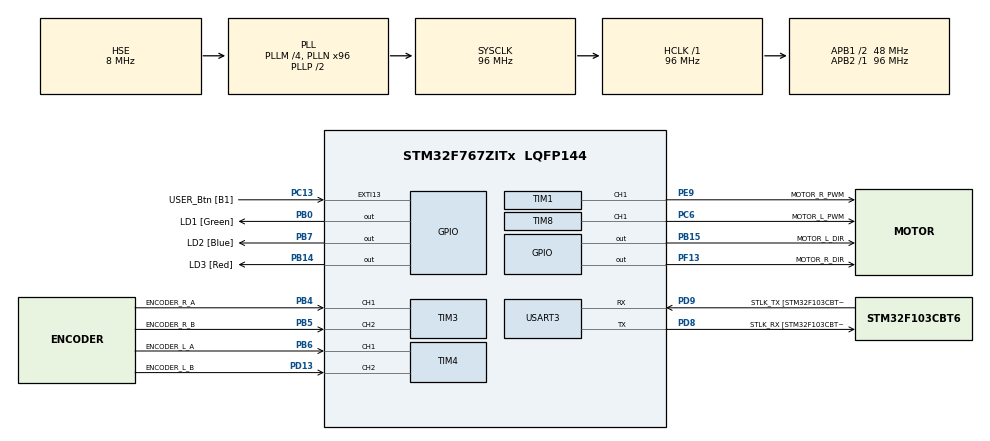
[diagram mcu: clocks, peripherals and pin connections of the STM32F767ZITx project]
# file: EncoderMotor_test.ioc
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CORTEX_M7.default_mode_Activation=1
Mcu.Family=STM32F7
Mcu.Name=STM32F767ZITx
Mcu.Package=LQFP144
NVIC.PriorityGroup=NVIC_PRIORITYGROUP_4
NVIC.TIM6_DAC_IRQn=true\:0\:0\:false\:false\:true\:true\:true\:true
NVIC.USART3_IRQn=true\:0\:0\:false\:false\:true\:true\:true\:true
PA13.GPIO_Label=TMS
PA13.Mode=Serial_Wire
PA13.Signal=SYS_JTMS-SWDIO
PA14.GPIO_Label=TCK
PA14.Mode=Serial_Wire
PA14.Signal=SYS_JTCK-SWCLK
PB0.GPIO_Label=LD1 [Green]
PB0.Signal=GPIO_Output
PB14.GPIO_Label=LD3 [Red]
PB14.Signal=GPIO_Output
PB15.GPIO_Label=MOTOR_L_DIR
PB15.Signal=GPIO_Output
PB3.GPIO_Label=SWO
PB3.Signal=SYS_JTDO-SWO
PB4.GPIO_Label=ENCODER_R_A
PB4.GPIO_Speed=GPIO_SPEED_FREQ_VERY_HIGH
PB4.Signal=S_TIM3_CH1
PB5.GPIO_Label=ENCODER_R_B
PB5.GPIO_Speed=GPIO_SPEED_FREQ_VERY_HIGH
PB5.Signal=S_TIM3_CH2
PB6.GPIO_Label=ENCODER_L_A
PB6.GPIO_Speed=GPIO_SPEED_FREQ_VERY_HIGH
PB6.Signal=S_TIM4_CH1
PB7.GPIO_Label=LD2 [Blue]
PB7.Signal=GPIO_Output
PC13.GPIO_Label=USER_Btn [B1]
PC13.Signal=GPXTI13
PC14/OSC32_IN.Mode=LSE-External-Oscillator
PC14/OSC32_IN.Signal=RCC_OSC32_IN
PC15/OSC32_OUT.Mode=LSE-External-Oscillator
PC15/OSC32_OUT.Signal=RCC_OSC32_OUT
PC6.GPIO_Label=MOTOR_L_PWM
PC6.Signal=S_TIM8_CH1
PD13.GPIO_Label=ENCODER_L_B
PD13.GPIO_Speed=GPIO_SPEED_FREQ_VERY_HIGH
PD13.Signal=S_TIM4_CH2
PD8.GPIO_Label=STLK_RX [STM32F103CBT6_PA3]
PD8.Mode=Asynchronous
PD8.Signal=USART3_TX
PD9.GPIO_Label=STLK_TX [STM32F103CBT6_PA2]
PD9.Mode=Asynchronous
PD9.Signal=USART3_RX
PE9.GPIO_Label=MOTOR_R_PWM
PE9.Signal=S_TIM1_CH1
PF13.GPIO_Label=MOTOR_R_DIR
PF13.Signal=GPIO_Output
PH0/OSC_IN.GPIO_Label=MCO [STM32F103CBT6_PA8]
PH0/OSC_IN.Mode=HSE-External-Clock-Source
PH0/OSC_IN.Signal=RCC_OSC_IN
PH1/OSC_OUT.Mode=HSE-External-Clock-Source
PH1/OSC_OUT.Signal=RCC_OSC_OUT
ProjectManager.HeapSize=0x200
ProjectManager.StackSize=0x400
ProjectManager.TargetToolchain=STM32CubeIDE
RCC.48MHZClocksFreq_Value=24000000
RCC.AHBFreq_Value=96000000
RCC.APB1CLKDivider=RCC_HCLK_DIV2
RCC.APB1Freq_Value=48000000
RCC.APB1TimFreq_Value=96000000
RCC.APB2Freq_Value=96000000
RCC.APB2TimFreq_Value=96000000
RCC.CortexFreq_Value=96000000
RCC.HCLKFreq_Value=96000000
RCC.HSE_VALUE=8000000
RCC.HSI_VALUE=16000000
RCC.PLLM=4
RCC.PLLMUL=RCC_PLL_MUL9
RCC.PLLN=96
RCC.PLLQ=4
RCC.PLLSourceVirtual=RCC_PLLSOURCE_HSE
RCC.PRESCALERUSB=RCC_USBCLKSOURCE_PLL_DIV1_5
RCC.SYSCLKFreq_VALUE=96000000
RCC.SYSCLKSource=RCC_SYSCLKSOURCE_PLLCLK
RCC.SYSCLKSourceVirtual=RCC_SYSCLKSOURCE_PLLCLK
RCC.USBFreq_Value=48000000
RCC.VCOOutputFreq_Value=192000000
SH.S_TIM1_CH1.0=TIM1_CH1,PWM Generation1 CH1
SH.S_TIM3_CH1.0=TIM3_CH1,Encoder_Interface
SH.S_TIM3_CH2.0=TIM3_CH2,Encoder_Interface
SH.S_TIM4_CH1.0=TIM4_CH1,Encoder_Interface
SH.S_TIM4_CH2.0=TIM4_CH2,Encoder_Interface
SH.S_TIM8_CH1.0=TIM8_CH1,PWM Generation1 CH1
TIM1.AutoReloadPreload=TIM_AUTORELOAD_PRELOAD_ENABLE
TIM1.Channel-PWM\ Generation1\ CH1=TIM_CHANNEL_1
TIM1.Period=4800 - 1
TIM1.Prescaler=1 - 1
TIM3.EncoderMode=TIM_ENCODERMODE_TI12
TIM3.IC1Filter=15
TIM3.IC2Filter=15
TIM4.EncoderMode=TIM_ENCODERMODE_TI12
TIM4.IC1Filter=15
TIM4.IC2Filter=15
TIM6.Period=100-1
TIM6.Prescaler=9600-1
TIM8.Channel-PWM\ Generation1\ CH1=TIM_CHANNEL_1
TIM8.Period=4800 - 1
TIM8.Prescaler=1 - 1
USART3.VirtualMode-Asynchronous=VM_ASYNC
VP_TIM6_VS_ClockSourceINT.Mode=Enable_Timer
board=NUCLEO-F767ZI

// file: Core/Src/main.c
/* USER CODE BEGIN Header */
/**
  ******************************************************************************
  * @file           : main.c
  * @brief          : Main program body
  ******************************************************************************
  * @attention
  *
  * Copyright (c) 2026 STMicroelectronics.
  * All rights reserved.
  *
  * This software is licensed under terms that can be found in the LICENSE file
  * in the root directory of this software component.
  * If no LICENSE file comes with this software, it is provided AS-IS.
  *
  ******************************************************************************
  */
/* USER CODE END Header */
#include "main.h"

/* USER CODE BEGIN Includes */
#include <stdio.h>
#include "pid.h"
//#include "agv_control.h"
/* USER CODE END Includes */

/* USER CODE BEGIN PD */
#define CMD_FORWARD       0x01
#define CMD_STOP          0x02
#define CMD_ROTATE_LEFT   0x05
#define CMD_ROTATE_RIGHT  0x06
#define CMD_ROTATE_180    0x07
#define ABS(x) (((x) > 0) ? (x) : (-x))
/* USER CODE END PD */

TIM_HandleTypeDef htim1;
TIM_HandleTypeDef htim3;
TIM_HandleTypeDef htim4;
TIM_HandleTypeDef htim6;
TIM_HandleTypeDef htim8;

UART_HandleTypeDef huart3;

/* USER CODE BEGIN PV */
volatile uint8_t control_flag = 0, print_flag = 0;
uint8_t command = 0x00;

uint16_t Base_PWM = 1200;
uint16_t EncoderL_PrevCount, EncoderR_PrevCount;
uint16_t EncoderL_CurrCount, EncoderR_CurrCount;
int16_t EncoderL_DiffCount, EncoderR_DiffCount;
int16_t MotorL_Speed, MotorR_Speed;

PID_t MOTOR_L;
PID_t MOTOR_R;
/* USER CODE END PV */

void SystemClock_Config(void);
static void MPU_Config(void);
static void MX_GPIO_Init(void);
static void MX_TIM1_Init(void);
static void MX_TIM3_Init(void);
static void MX_TIM4_Init(void);
static void MX_TIM8_Init(void);
static void MX_USART3_UART_Init(void);
static void MX_TIM6_Init(void);

/* USER CODE BEGIN 0 */
int _write(int file, char *ptr, int len)
{
    HAL_UART_Transmit(&huart3, (uint8_t*) ptr, len, HAL_MAX_DELAY);
    return len;
}

void MOTOR_Start(void)
{
	HAL_TIM_PWM_Start(&htim1, TIM_CHANNEL_1);			// MOTOR_R_PWM
	HAL_TIM_PWM_Start(&htim8, TIM_CHANNEL_1);			// MOTOR_L_PWM

	HAL_TIM_Encoder_Start(&htim3, TIM_CHANNEL_ALL);  	// MOTOR_R_ENCODER
	HAL_TIM_Encoder_Start(&htim4, TIM_CHANNEL_ALL);  	// MOTOR_L_ENCODER
}

void SPEED_PID_Control(uint16_t basePwm, float target)
{
	EncoderL_CurrCount = __HAL_TIM_GET_COUNTER(&htim4);
	EncoderR_CurrCount = __HAL_TIM_GET_COUNTER(&htim3);

	EncoderL_DiffCount = ABS((int16_t)(EncoderL_CurrCount - EncoderL_PrevCount));
	EncoderR_DiffCount = ABS((int16_t)(EncoderR_CurrCount - EncoderR_PrevCount));

	EncoderL_PrevCount = EncoderL_CurrCount;
	EncoderR_PrevCount = EncoderR_CurrCount;

	PID_SetTarget(&MOTOR_L, target);
	PID_SetTarget(&MOTOR_R, target);

	PID_Compute(&MOTOR_L, EncoderL_DiffCount);
	PID_Compute(&MOTOR_R, EncoderR_DiffCount);

	MotorL_Speed = basePwm + MOTOR_L.pidOutput;
	MotorR_Speed = basePwm + MOTOR_R.pidOutput;

	if (MotorL_Speed > 4320) MotorL_Speed = 4320;
	if (MotorL_Speed < 0) MotorL_Speed = 0;
	if (MotorR_Speed > 4320) MotorR_Speed = 4320;
	if (MotorR_Speed < 0) MotorR_Speed = 0;

	__HAL_TIM_SET_COMPARE(&htim8, TIM_CHANNEL_1, MotorL_Speed);
	__HAL_TIM_SET_COMPARE(&htim1, TIM_CHANNEL_1, MotorR_Speed);
}

void AGV_Forward(uint16_t basePwm, float target)
{
	HAL_GPIO_WritePin(MOTOR_L_DIR_GPIO_Port, MOTOR_L_DIR_Pin, GPIO_PIN_RESET);
	HAL_GPIO_WritePin(MOTOR_R_DIR_GPIO_Port, MOTOR_R_DIR_Pin, GPIO_PIN_RESET);

	if (control_flag)
	{
		control_flag = 0;
		print_flag++;
		SPEED_PID_Control(basePwm, target);
	}

	if (print_flag >= 10)
	{
		print_flag = 0;
		printf("EncoderL_CurrCount: %d, EncoderR_CurrCount: %d\r\n", EncoderL_CurrCount, EncoderR_CurrCount);
		printf("EncoderL_DiffCount: %d, EncoderR_DiffCount: %d\r\n", EncoderL_DiffCount, EncoderR_DiffCount);
		printf("MotorL_Speed: %d, MotorR_Speed: %d\r\n\n", MotorL_Speed, MotorR_Speed);
	}
}

void AGV_Stop(void)
{
	__HAL_TIM_SET_COMPARE(&htim8, TIM_CHANNEL_1, 0);
	__HAL_TIM_SET_COMPARE(&htim1, TIM_CHANNEL_1, 0);
}

void AGV_ROTATE_LEFT(uint16_t basePwm, float target)
{
	HAL_GPIO_WritePin(MOTOR_L_DIR_GPIO_Port, MOTOR_L_DIR_Pin, GPIO_PIN_SET);
	HAL_GPIO_WritePin(MOTOR_R_DIR_GPIO_Port, MOTOR_R_DIR_Pin, GPIO_PIN_RESET);

	if (control_flag)
	{
		control_flag = 0;
		print_flag++;
		SPEED_PID_Control(basePwm, target);
	}

	if (print_flag >= 10)
	{
		print_flag = 0;
		printf("EncoderL_CurrCount: %d, EncoderR_CurrCount: %d\r\n", EncoderL_CurrCount, EncoderR_CurrCount);
		printf("EncoderL_DiffCount: %d, EncoderR_DiffCount: %d\r\n", EncoderL_DiffCount, EncoderR_DiffCount);
		printf("MotorL_Speed: %d, MotorR_Speed: %d\r\n\n", MotorL_Speed, MotorR_Speed);
	}
}

void AGV_ROTATE_RIGHT(uint16_t basePwm, float target)
{
	HAL_GPIO_WritePin(MOTOR_L_DIR_GPIO_Port, MOTOR_L_DIR_Pin, GPIO_PIN_RESET);
	HAL_GPIO_WritePin(MOTOR_R_DIR_GPIO_Port, MOTOR_R_DIR_Pin, GPIO_PIN_SET);

	if (control_flag)
	{
		control_flag = 0;
		print_flag++;
		SPEED_PID_Control(basePwm, target);
	}

	if (print_flag >= 10)
	{
		print_flag = 0;
		printf("EncoderL_CurrCount: %d, EncoderR_CurrCount: %d\r\n", EncoderL_CurrCount, EncoderR_CurrCount);
		printf("EncoderL_DiffCount: %d, EncoderR_DiffCount: %d\r\n", EncoderL_DiffCount, EncoderR_DiffCount);
		printf("MotorL_Speed: %d, MotorR_Speed: %d\r\n\n", MotorL_Speed, MotorR_Speed);
	}
}

void AGV_ROTATE_180(uint16_t basePwm, float target)
{
	HAL_GPIO_WritePin(MOTOR_L_DIR_GPIO_Port, MOTOR_L_DIR_Pin, GPIO_PIN_RESET);
	HAL_GPIO_WritePin(MOTOR_R_DIR_GPIO_Port, MOTOR_R_DIR_Pin, GPIO_PIN_SET);

	if (control_flag)
	{
		control_flag = 0;
		print_flag++;
		SPEED_PID_Control(basePwm, target);
	}

	if (print_flag >= 10)
	{
		print_flag = 0;
		printf("EncoderL_CurrCount: %d, EncoderR_CurrCount: %d\r\n", EncoderL_CurrCount, EncoderR_CurrCount);
		printf("EncoderL_DiffCount: %d, EncoderR_DiffCount: %d\r\n", EncoderL_DiffCount, EncoderR_DiffCount);
		printf("MotorL_Speed: %d, MotorR_Speed: %d\r\n\n", MotorL_Speed, MotorR_Speed);
	}
}
/* USER CODE END 0 */

int main(void)
{

  /* MPU Configuration--------------------------------------------------------*/
  MPU_Config();

  /* MCU Configuration--------------------------------------------------------*/

  /* Reset of all peripherals, Initializes the Flash interface and the Systick. */
  HAL_Init();

  /* Configure the system clock */
  SystemClock_Config();

  /* Initialize all configured peripherals */
  MX_GPIO_Init();
  MX_TIM1_Init();
  MX_TIM3_Init();
  MX_TIM4_Init();
  MX_TIM8_Init();
  MX_USART3_UART_Init();
  MX_TIM6_Init();
  /* USER CODE BEGIN 2 */
  MOTOR_Start();

  HAL_TIM_Base_Start_IT(&htim6);

  PID_Init(&MOTOR_L, 1.0, 0, 0.0, 0.01, 0, 4320, -4320);
  PID_Init(&MOTOR_R, 1.0, 0, 0.0, 0.01, 0, 4320, -4320);

  HAL_UART_Receive_IT(&huart3, &command, 1);
  /* USER CODE END 2 */

  /* Infinite loop */
  /* USER CODE BEGIN WHILE */
  while (1)
  {
	  switch(command)
	  {
	  case CMD_FORWARD:
		  AGV_Forward(1200, 60.0f);
		  break;
	  case CMD_STOP:
		  AGV_Stop();
		  break;
	  case CMD_ROTATE_LEFT:
		  AGV_ROTATE_LEFT(1200, 60.0f);
		  break;
	  case CMD_ROTATE_RIGHT:
		  AGV_ROTATE_RIGHT(1200, 60.0f);
		  break;
	  case CMD_ROTATE_180:
		  AGV_ROTATE_180(1200, 60.0f);
		  break;
	  }
    /* USER CODE END WHILE */

  }
}

void SystemClock_Config(void)
{
  RCC_OscInitTypeDef RCC_OscInitStruct = {0};
  RCC_ClkInitTypeDef RCC_ClkInitStruct = {0};

  /** Configure LSE Drive Capability
  */
  HAL_PWR_EnableBkUpAccess();

  /** Configure the main internal regulator output voltage
  */
  __HAL_RCC_PWR_CLK_ENABLE();
  __HAL_PWR_VOLTAGESCALING_CONFIG(PWR_REGULATOR_VOLTAGE_SCALE3);

  /** Initializes the RCC Oscillators according to the specified parameters
  * in the RCC_OscInitTypeDef structure.
  */
  RCC_OscInitStruct.OscillatorType = RCC_OSCILLATORTYPE_HSE;
  RCC_OscInitStruct.HSEState = RCC_HSE_BYPASS;
  RCC_OscInitStruct.PLL.PLLState = RCC_PLL_ON;
  RCC_OscInitStruct.PLL.PLLSource = RCC_PLLSOURCE_HSE;
  RCC_OscInitStruct.PLL.PLLM = 4;
  RCC_OscInitStruct.PLL.PLLN = 96;
  RCC_OscInitStruct.PLL.PLLP = RCC_PLLP_DIV2;
  RCC_OscInitStruct.PLL.PLLQ = 4;
  RCC_OscInitStruct.PLL.PLLR = 2;
  if (HAL_RCC_OscConfig(&RCC_OscInitStruct) != HAL_OK)
  {
    Error_Handler();
  }

  /** Activate the Over-Drive mode
  */
  if (HAL_PWREx_EnableOverDrive() != HAL_OK)
  {
    Error_Handler();
  }

  /** Initializes the CPU, AHB and APB buses clocks
  */
  RCC_ClkInitStruct.ClockType = RCC_CLOCKTYPE_HCLK|RCC_CLOCKTYPE_SYSCLK
                              |RCC_CLOCKTYPE_PCLK1|RCC_CLOCKTYPE_PCLK2;
  RCC_ClkInitStruct.SYSCLKSource = RCC_SYSCLKSOURCE_PLLCLK;
  RCC_ClkInitStruct.AHBCLKDivider = RCC_SYSCLK_DIV1;
  RCC_ClkInitStruct.APB1CLKDivider = RCC_HCLK_DIV2;
  RCC_ClkInitStruct.APB2CLKDivider = RCC_HCLK_DIV1;

  if (HAL_RCC_ClockConfig(&RCC_ClkInitStruct, FLASH_LATENCY_3) != HAL_OK)
  {
    Error_Handler();
  }
}

static void MX_TIM1_Init(void)
{

  TIM_MasterConfigTypeDef sMasterConfig = {0};
  TIM_OC_InitTypeDef sConfigOC = {0};
  TIM_BreakDeadTimeConfigTypeDef sBreakDeadTimeConfig = {0};

  htim1.Instance = TIM1;
  htim1.Init.Prescaler = 1 - 1;
  htim1.Init.CounterMode = TIM_COUNTERMODE_UP;
  htim1.Init.Period = 4800 - 1;
  htim1.Init.ClockDivision = TIM_CLOCKDIVISION_DIV1;
  htim1.Init.RepetitionCounter = 0;
  htim1.Init.AutoReloadPreload = TIM_AUTORELOAD_PRELOAD_ENABLE;
  if (HAL_TIM_PWM_Init(&htim1) != HAL_OK)
  {
    Error_Handler();
  }
  sMasterConfig.MasterOutputTrigger = TIM_TRGO_RESET;
  sMasterConfig.MasterOutputTrigger2 = TIM_TRGO2_RESET;
  sMasterConfig.MasterSlaveMode = TIM_MASTERSLAVEMODE_DISABLE;
  if (HAL_TIMEx_MasterConfigSynchronization(&htim1, &sMasterConfig) != HAL_OK)
  {
    Error_Handler();
  }
  sConfigOC.OCMode = TIM_OCMODE_PWM1;
  sConfigOC.Pulse = 0;
  sConfigOC.OCPolarity = TIM_OCPOLARITY_HIGH;
  sConfigOC.OCNPolarity = TIM_OCNPOLARITY_HIGH;
  sConfigOC.OCFastMode = TIM_OCFAST_DISABLE;
  sConfigOC.OCIdleState = TIM_OCIDLESTATE_RESET;
  sConfigOC.OCNIdleState = TIM_OCNIDLESTATE_RESET;
  if (HAL_TIM_PWM_ConfigChannel(&htim1, &sConfigOC, TIM_CHANNEL_1) != HAL_OK)
  {
    Error_Handler();
  }
  sBreakDeadTimeConfig.OffStateRunMode = TIM_OSSR_DISABLE;
  sBreakDeadTimeConfig.OffStateIDLEMode = TIM_OSSI_DISABLE;
  sBreakDeadTimeConfig.LockLevel = TIM_LOCKLEVEL_OFF;
  sBreakDeadTimeConfig.DeadTime = 0;
  sBreakDeadTimeConfig.BreakState = TIM_BREAK_DISABLE;
  sBreakDeadTimeConfig.BreakPolarity = TIM_BREAKPOLARITY_HIGH;
  sBreakDeadTimeConfig.BreakFilter = 0;
  sBreakDeadTimeConfig.Break2State = TIM_BREAK2_DISABLE;
  sBreakDeadTimeConfig.Break2Polarity = TIM_BREAK2POLARITY_HIGH;
  sBreakDeadTimeConfig.Break2Filter = 0;
  sBreakDeadTimeConfig.AutomaticOutput = TIM_AUTOMATICOUTPUT_DISABLE;
  if (HAL_TIMEx_ConfigBreakDeadTime(&htim1, &sBreakDeadTimeConfig) != HAL_OK)
  {
    Error_Handler();
  }
  HAL_TIM_MspPostInit(&htim1);

}

static void MX_TIM3_Init(void)
{

  TIM_Encoder_InitTypeDef sConfig = {0};
  TIM_MasterConfigTypeDef sMasterConfig = {0};

  htim3.Instance = TIM3;
  htim3.Init.Prescaler = 0;
  htim3.Init.CounterMode = TIM_COUNTERMODE_UP;
  htim3.Init.Period = 65535;
  htim3.Init.ClockDivision = TIM_CLOCKDIVISION_DIV1;
  htim3.Init.AutoReloadPreload = TIM_AUTORELOAD_PRELOAD_DISABLE;
  sConfig.EncoderMode = TIM_ENCODERMODE_TI12;
  sConfig.IC1Polarity = TIM_ICPOLARITY_RISING;
  sConfig.IC1Selection = TIM_ICSELECTION_DIRECTTI;
  sConfig.IC1Prescaler = TIM_ICPSC_DIV1;
  sConfig.IC1Filter = 15;
  sConfig.IC2Polarity = TIM_ICPOLARITY_RISING;
  sConfig.IC2Selection = TIM_ICSELECTION_DIRECTTI;
  sConfig.IC2Prescaler = TIM_ICPSC_DIV1;
  sConfig.IC2Filter = 15;
  if (HAL_TIM_Encoder_Init(&htim3, &sConfig) != HAL_OK)
  {
    Error_Handler();
  }
  sMasterConfig.MasterOutputTrigger = TIM_TRGO_RESET;
  sMasterConfig.MasterSlaveMode = TIM_MASTERSLAVEMODE_DISABLE;
  if (HAL_TIMEx_MasterConfigSynchronization(&htim3, &sMasterConfig) != HAL_OK)
  {
    Error_Handler();
  }

}

static void MX_TIM4_Init(void)
{

  TIM_Encoder_InitTypeDef sConfig = {0};
  TIM_MasterConfigTypeDef sMasterConfig = {0};

  htim4.Instance = TIM4;
  htim4.Init.Prescaler = 0;
  htim4.Init.CounterMode = TIM_COUNTERMODE_UP;
  htim4.Init.Period = 65535;
  htim4.Init.ClockDivision = TIM_CLOCKDIVISION_DIV1;
  htim4.Init.AutoReloadPreload = TIM_AUTORELOAD_PRELOAD_DISABLE;
  sConfig.EncoderMode = TIM_ENCODERMODE_TI12;
  sConfig.IC1Polarity = TIM_ICPOLARITY_RISING;
  sConfig.IC1Selection = TIM_ICSELECTION_DIRECTTI;
  sConfig.IC1Prescaler = TIM_ICPSC_DIV1;
  sConfig.IC1Filter = 15;
  sConfig.IC2Polarity = TIM_ICPOLARITY_RISING;
  sConfig.IC2Selection = TIM_ICSELECTION_DIRECTTI;
  sConfig.IC2Prescaler = TIM_ICPSC_DIV1;
  sConfig.IC2Filter = 15;
  if (HAL_TIM_Encoder_Init(&htim4, &sConfig) != HAL_OK)
  {
    Error_Handler();
  }
  sMasterConfig.MasterOutputTrigger = TIM_TRGO_RESET;
  sMasterConfig.MasterSlaveMode = TIM_MASTERSLAVEMODE_DISABLE;
  if (HAL_TIMEx_MasterConfigSynchronization(&htim4, &sMasterConfig) != HAL_OK)
  {
    Error_Handler();
  }

}

static void MX_TIM6_Init(void)
{

  TIM_MasterConfigTypeDef sMasterConfig = {0};

  htim6.Instance = TIM6;
  htim6.Init.Prescaler = 9600-1;
  htim6.Init.CounterMode = TIM_COUNTERMODE_UP;
  htim6.Init.Period = 100-1;
  htim6.Init.AutoReloadPreload = TIM_AUTORELOAD_PRELOAD_DISABLE;
  if (HAL_TIM_Base_Init(&htim6) != HAL_OK)
  {
    Error_Handler();
  }
  sMasterConfig.MasterOutputTrigger = TIM_TRGO_RESET;
  sMasterConfig.MasterSlaveMode = TIM_MASTERSLAVEMODE_DISABLE;
  if (HAL_TIMEx_MasterConfigSynchronization(&htim6, &sMasterConfig) != HAL_OK)
  {
    Error_Handler();
  }

}

static void MX_TIM8_Init(void)
{

  TIM_MasterConfigTypeDef sMasterConfig = {0};
  TIM_OC_InitTypeDef sConfigOC = {0};
  TIM_BreakDeadTimeConfigTypeDef sBreakDeadTimeConfig = {0};

  htim8.Instance = TIM8;
  htim8.Init.Prescaler = 1 - 1;
  htim8.Init.CounterMode = TIM_COUNTERMODE_UP;
  htim8.Init.Period = 4800 - 1;
  htim8.Init.ClockDivision = TIM_CLOCKDIVISION_DIV1;
  htim8.Init.RepetitionCounter = 0;
  htim8.Init.AutoReloadPreload = TIM_AUTORELOAD_PRELOAD_DISABLE;
  if (HAL_TIM_PWM_Init(&htim8) != HAL_OK)
  {
    Error_Handler();
  }
  sMasterConfig.MasterOutputTrigger = TIM_TRGO_RESET;
  sMasterConfig.MasterOutputTrigger2 = TIM_TRGO2_RESET;
  sMasterConfig.MasterSlaveMode = TIM_MASTERSLAVEMODE_DISABLE;
  if (HAL_TIMEx_MasterConfigSynchronization(&htim8, &sMasterConfig) != HAL_OK)
  {
    Error_Handler();
  }
  sConfigOC.OCMode = TIM_OCMODE_PWM1;
  sConfigOC.Pulse = 0;
  sConfigOC.OCPolarity = TIM_OCPOLARITY_HIGH;
  sConfigOC.OCNPolarity = TIM_OCNPOLARITY_HIGH;
  sConfigOC.OCFastMode = TIM_OCFAST_DISABLE;
  sConfigOC.OCIdleState = TIM_OCIDLESTATE_RESET;
  sConfigOC.OCNIdleState = TIM_OCNIDLESTATE_RESET;
  if (HAL_TIM_PWM_ConfigChannel(&htim8, &sConfigOC, TIM_CHANNEL_1) != HAL_OK)
  {
    Error_Handler();
  }
  sBreakDeadTimeConfig.OffStateRunMode = TIM_OSSR_DISABLE;
  sBreakDeadTimeConfig.OffStateIDLEMode = TIM_OSSI_DISABLE;
  sBreakDeadTimeConfig.LockLevel = TIM_LOCKLEVEL_OFF;
  sBreakDeadTimeConfig.DeadTime = 0;
  sBreakDeadTimeConfig.BreakState = TIM_BREAK_DISABLE;
  sBreakDeadTimeConfig.BreakPolarity = TIM_BREAKPOLARITY_HIGH;
  sBreakDeadTimeConfig.BreakFilter = 0;
  sBreakDeadTimeConfig.Break2State = TIM_BREAK2_DISABLE;
  sBreakDeadTimeConfig.Break2Polarity = TIM_BREAK2POLARITY_HIGH;
  sBreakDeadTimeConfig.Break2Filter = 0;
  sBreakDeadTimeConfig.AutomaticOutput = TIM_AUTOMATICOUTPUT_DISABLE;
  if (HAL_TIMEx_ConfigBreakDeadTime(&htim8, &sBreakDeadTimeConfig) != HAL_OK)
  {
    Error_Handler();
  }
  HAL_TIM_MspPostInit(&htim8);

}

static void MX_USART3_UART_Init(void)
{

  huart3.Instance = USART3;
  huart3.Init.BaudRate = 115200;
  huart3.Init.WordLength = UART_WORDLENGTH_8B;
  huart3.Init.StopBits = UART_STOPBITS_1;
  huart3.Init.Parity = UART_PARITY_NONE;
  huart3.Init.Mode = UART_MODE_TX_RX;
  huart3.Init.HwFlowCtl = UART_HWCONTROL_NONE;
  huart3.Init.OverSampling = UART_OVERSAMPLING_16;
  huart3.Init.OneBitSampling = UART_ONE_BIT_SAMPLE_DISABLE;
  huart3.AdvancedInit.AdvFeatureInit = UART_ADVFEATURE_NO_INIT;
  if (HAL_UART_Init(&huart3) != HAL_OK)
  {
    Error_Handler();
  }

}

static void MX_GPIO_Init(void)
{
  GPIO_InitTypeDef GPIO_InitStruct = {0};

  /* GPIO Ports Clock Enable */
  __HAL_RCC_GPIOC_CLK_ENABLE();
  __HAL_RCC_GPIOH_CLK_ENABLE();
  __HAL_RCC_GPIOB_CLK_ENABLE();
  __HAL_RCC_GPIOF_CLK_ENABLE();
  __HAL_RCC_GPIOE_CLK_ENABLE();
  __HAL_RCC_GPIOD_CLK_ENABLE();
  __HAL_RCC_GPIOA_CLK_ENABLE();

  /*Configure GPIO pin Output Level */
  HAL_GPIO_WritePin(GPIOB, LD1_Pin|LD3_Pin|MOTOR_L_DIR_Pin|LD2_Pin, GPIO_PIN_RESET);

  /*Configure GPIO pin Output Level */
  HAL_GPIO_WritePin(MOTOR_R_DIR_GPIO_Port, MOTOR_R_DIR_Pin, GPIO_PIN_RESET);

  /*Configure GPIO pin : USER_Btn_Pin */
  GPIO_InitStruct.Pin = USER_Btn_Pin;
  GPIO_InitStruct.Mode = GPIO_MODE_IT_RISING;
  GPIO_InitStruct.Pull = GPIO_NOPULL;
  HAL_GPIO_Init(USER_Btn_GPIO_Port, &GPIO_InitStruct);

  /*Configure GPIO pins : LD1_Pin LD3_Pin MOTOR_L_DIR_Pin LD2_Pin */
  GPIO_InitStruct.Pin = LD1_Pin|LD3_Pin|MOTOR_L_DIR_Pin|LD2_Pin;
  GPIO_InitStruct.Mode = GPIO_MODE_OUTPUT_PP;
  GPIO_InitStruct.Pull = GPIO_NOPULL;
  GPIO_InitStruct.Speed = GPIO_SPEED_FREQ_LOW;
  HAL_GPIO_Init(GPIOB, &GPIO_InitStruct);

  /*Configure GPIO pin : MOTOR_R_DIR_Pin */
  GPIO_InitStruct.Pin = MOTOR_R_DIR_Pin;
  GPIO_InitStruct.Mode = GPIO_MODE_OUTPUT_PP;
  GPIO_InitStruct.Pull = GPIO_NOPULL;
  GPIO_InitStruct.Speed = GPIO_SPEED_FREQ_LOW;
  HAL_GPIO_Init(MOTOR_R_DIR_GPIO_Port, &GPIO_InitStruct);

}

/* USER CODE BEGIN 4 */
void HAL_UART_RxCpltCallback(UART_HandleTypeDef *huart)
{
	if (huart->Instance == USART3)
	{
		HAL_UART_Receive_IT(&huart3, &command, 1);
	}
}

void HAL_TIM_PeriodElapsedCallback(TIM_HandleTypeDef *htim)
{
    if (htim->Instance == TIM6) {
    	control_flag++;
    }
}
/* USER CODE END 4 */

 /* MPU Configuration */

void MPU_Config(void)
{
  MPU_Region_InitTypeDef MPU_InitStruct = {0};

  /* Disables the MPU */
  HAL_MPU_Disable();

  /** Initializes and configures the Region and the memory to be protected
  */
  MPU_InitStruct.Enable = MPU_REGION_ENABLE;
  MPU_InitStruct.Number = MPU_REGION_NUMBER0;
  MPU_InitStruct.BaseAddress = 0x0;
  MPU_InitStruct.Size = MPU_REGION_SIZE_4GB;
  MPU_InitStruct.SubRegionDisable = 0x87;
  MPU_InitStruct.TypeExtField = MPU_TEX_LEVEL0;
  MPU_InitStruct.AccessPermission = MPU_REGION_NO_ACCESS;
  MPU_InitStruct.DisableExec = MPU_INSTRUCTION_ACCESS_DISABLE;
  MPU_InitStruct.IsShareable = MPU_ACCESS_SHAREABLE;
  MPU_InitStruct.IsCacheable = MPU_ACCESS_NOT_CACHEABLE;
  MPU_InitStruct.IsBufferable = MPU_ACCESS_NOT_BUFFERABLE;

  HAL_MPU_ConfigRegion(&MPU_InitStruct);
  /* Enables the MPU */
  HAL_MPU_Enable(MPU_PRIVILEGED_DEFAULT);

}

void Error_Handler(void)
{
  __disable_irq();
  while (1)
  {
  }
}
